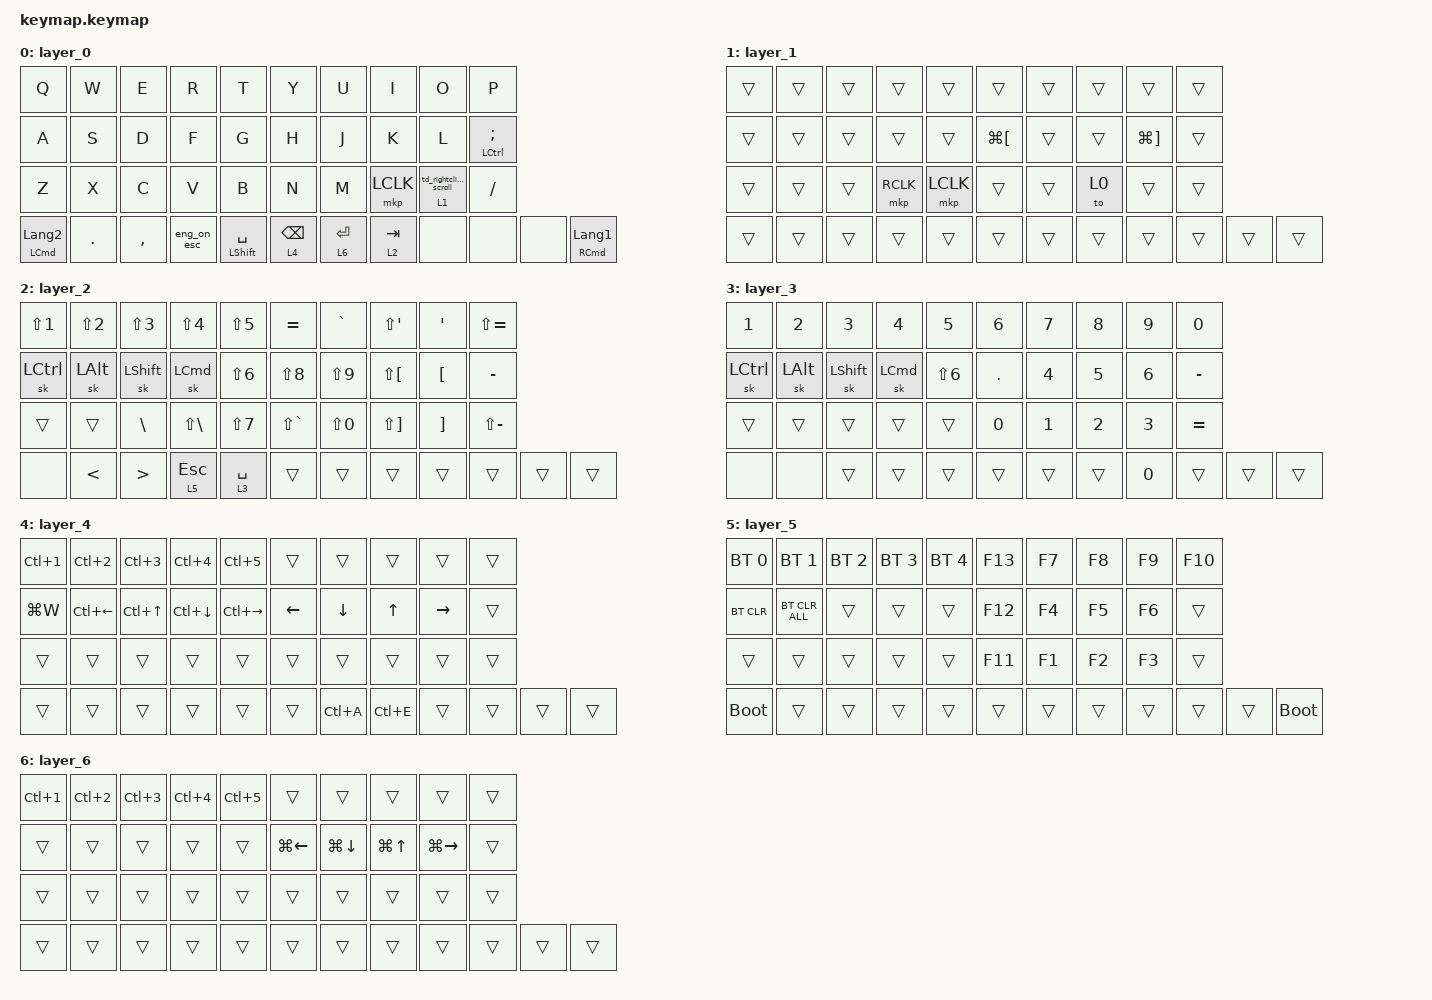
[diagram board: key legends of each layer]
#include <behaviors.dtsi>
#include <dt-bindings/zmk/bt.h>
#include <dt-bindings/zmk/keys.h>
#include <dt-bindings/zmk/pointing.h>

/ {
    combos {
        compatible = "zmk,combos";

        mission_ctl {
            bindings = <&kp LC(DOWN)>;
            key-positions = <27 28>;
        };
    };

    macros {
        eng_on_esc: eng_on_esc {
            compatible = "zmk,behavior-macro";
            #binding-cells = <0>;
            bindings = <&kp ESCAPE &kp LANGUAGE_2>;
            label = "ENG_ON_ESC";
        };
    };

    behaviors {
        lt_hold_first: lt_hold_first {
            compatible = "zmk,behavior-hold-tap";
            label = "LT_HOLD_FIRST";
            bindings = <&mo>, <&kp>;

            #binding-cells = <2>;
            tapping-term-ms = <200>;
            hold-while-undecided;
        };

        lt_quick_tap: lt_quick_tap {
            compatible = "zmk,behavior-hold-tap";
            label = "LT_QUICK_TAP";
            bindings = <&mo>, <&kp>;

            #binding-cells = <2>;
            tapping-term-ms = <200>;
            quick-tap-ms = <190>;
            hold-while-undecided;
        };

        long_sticky_lt: long_sticky_lt {
            compatible = "zmk,behavior-sticky-key";
            label = "LONG_STICKY_LT";
            bindings = <&mo>;
            #binding-cells = <1>;
            release-after-ms = <99999>;
            quick-release;
        };

        layer_mkp: layer_mkp {
            compatible = "zmk,behavior-hold-tap";
            label = "LAYER_MKP";
            bindings = <&mo>, <&mkp>;

            #binding-cells = <2>;
            tapping-term-ms = <200>;
            flavor = "hold-preferred";
        };

        td_rightclick_scroll: td_rightclick_scroll {
            compatible = "zmk,behavior-tap-dance";
            label = "TD_RIGHTCLICK_SCROLL";
            #binding-cells = <0>;
            bindings = <&mkp RCLK>, <&tog 1>;

            tapping-term-ms = <230>;
        };

        ht_rightclick: ht_rightclick {
            compatible = "zmk,behavior-hold-tap";
            label = "HT_RIGHTCLICK";
            bindings = <&mo>, <&td_rightclick_scroll>;

            #binding-cells = <2>;
            tapping-term-ms = <200>;
            hold-while-undecided;
        };
    };

    keymap {
        compatible = "zmk,keymap";

        layer_0 {
            bindings = <
&kp Q                        &kp W    &kp E      &kp R        &kp T                 &kp Y                      &kp U                   &kp I                 &kp O               &kp P
&kp A                        &kp S    &kp D      &kp F        &kp G                 &kp H                      &kp J                   &kp K                 &kp L               &mt LEFT_CONTROL SEMICOLON
&kp Z                        &kp X    &kp C      &kp V        &kp B                 &kp N                      &kp M                   &mkp LCLK             &ht_rightclick 1 0  &kp SLASH
&mt LEFT_COMMAND LANGUAGE_2  &kp DOT  &kp COMMA  &eng_on_esc  &mt LEFT_SHIFT SPACE  &lt_quick_tap 4 BACKSPACE  &lt_hold_first 6 ENTER  &lt_hold_first 2 TAB  &none               &none                       &none  &mt RIGHT_COMMAND LANGUAGE_1
            >;
        };

        layer_1 {
            bindings = <
&trans  &trans  &trans  &trans     &trans     &trans                &trans  &trans  &trans                 &trans
&trans  &trans  &trans  &trans     &trans     &kp LG(LEFT_BRACKET)  &trans  &trans  &kp LG(RIGHT_BRACKET)  &trans
&trans  &trans  &trans  &mkp RCLK  &mkp LCLK  &trans                &trans  &to 0   &trans                 &trans
&trans  &trans  &trans  &trans     &trans     &trans                &trans  &trans  &trans                 &trans  &trans  &trans
            >;
        };

        layer_2 {
            bindings = <
&kp LS(NUMBER_1)  &kp LS(NUMBER_2)  &kp LS(N3)      &kp LS(N4)         &kp LS(N5)              &kp EQUAL      &kp GRAVE   &kp LS(SQT)            &kp SQT            &kp LS(EQUAL)
&sk LEFT_CONTROL  &sk LEFT_ALT      &sk LEFT_SHIFT  &sk LCMD           &kp LS(NUMBER_6)        &kp LS(N8)     &kp LS(N9)  &kp LS(LEFT_BRACKET)   &kp LEFT_BRACKET   &kp MINUS
&trans            &trans            &kp BACKSLASH   &kp LS(BACKSLASH)  &kp LS(N7)              &kp LS(GRAVE)  &kp LS(N0)  &kp LS(RIGHT_BRACKET)  &kp RIGHT_BRACKET  &kp LS(MINUS)
&none             &kp LT            &kp GT          &lt 5 ESC          &lt_hold_first 3 SPACE  &trans         &trans      &trans                 &trans             &trans         &trans  &trans
            >;
        };

        layer_3 {
            bindings = <
&kp NUMBER_1      &kp NUMBER_2  &kp N3          &kp N4    &kp N5            &kp NUMBER_6  &kp N7        &kp N8        &kp N9        &kp N0
&sk LEFT_CONTROL  &sk LEFT_ALT  &sk LEFT_SHIFT  &sk LCMD  &kp LS(NUMBER_6)  &kp PERIOD    &kp NUMBER_4  &kp N5        &kp NUMBER_6  &kp MINUS
&trans            &trans        &trans          &trans    &trans            &kp N0        &kp NUMBER_1  &kp NUMBER_2  &kp NUMBER_3  &kp EQUAL
&none             &none         &trans          &trans    &trans            &trans        &trans        &trans        &kp N0        &trans     &trans  &trans
            >;
        };

        layer_4 {
            bindings = <
&kp LC(NUMBER_1)  &kp LC(NUMBER_2)  &kp LC(NUMBER_3)  &kp LC(NUMBER_4)  &kp LC(N5)     &trans          &trans     &trans        &trans     &trans
&kp LG(W)         &kp LC(LEFT)      &kp LC(UP_ARROW)  &kp LC(DOWN)      &kp LC(RIGHT)  &kp LEFT_ARROW  &kp DOWN   &kp UP_ARROW  &kp RIGHT  &trans
&trans            &trans            &trans            &trans            &trans         &trans          &trans     &trans        &trans     &trans
&trans            &trans            &trans            &trans            &trans         &trans          &kp LC(A)  &kp LC(E)     &trans     &trans  &trans  &trans
            >;
        };

        layer_5 {
            bindings = <
&bt BT_SEL 0  &bt BT_SEL 1    &bt BT_SEL 2  &bt BT_SEL 3  &bt BT_SEL 4  &kp F13  &kp F7  &kp F8  &kp F9  &kp F10
&bt BT_CLR    &bt BT_CLR_ALL  &trans        &trans        &trans        &kp F12  &kp F4  &kp F5  &kp F6  &trans
&trans        &trans          &trans        &trans        &trans        &kp F11  &kp F1  &kp F2  &kp F3  &trans
&bootloader   &trans          &trans        &trans        &trans        &trans   &trans  &trans  &trans  &trans   &trans  &bootloader
            >;
        };

        layer_6 {
            bindings = <
&kp LC(NUMBER_1)  &kp LC(NUMBER_2)  &kp LC(NUMBER_3)  &kp LC(NUMBER_4)  &kp LC(N5)  &trans              &trans        &trans            &trans         &trans
&trans            &trans            &trans            &trans            &trans      &kp LG(LEFT_ARROW)  &kp LG(DOWN)  &kp LG(UP_ARROW)  &kp LG(RIGHT)  &trans
&trans            &trans            &trans            &trans            &trans      &trans              &trans        &trans            &trans         &trans
&trans            &trans            &trans            &trans            &trans      &trans              &trans        &trans            &trans         &trans  &trans  &trans
            >;
        };
    };
};
